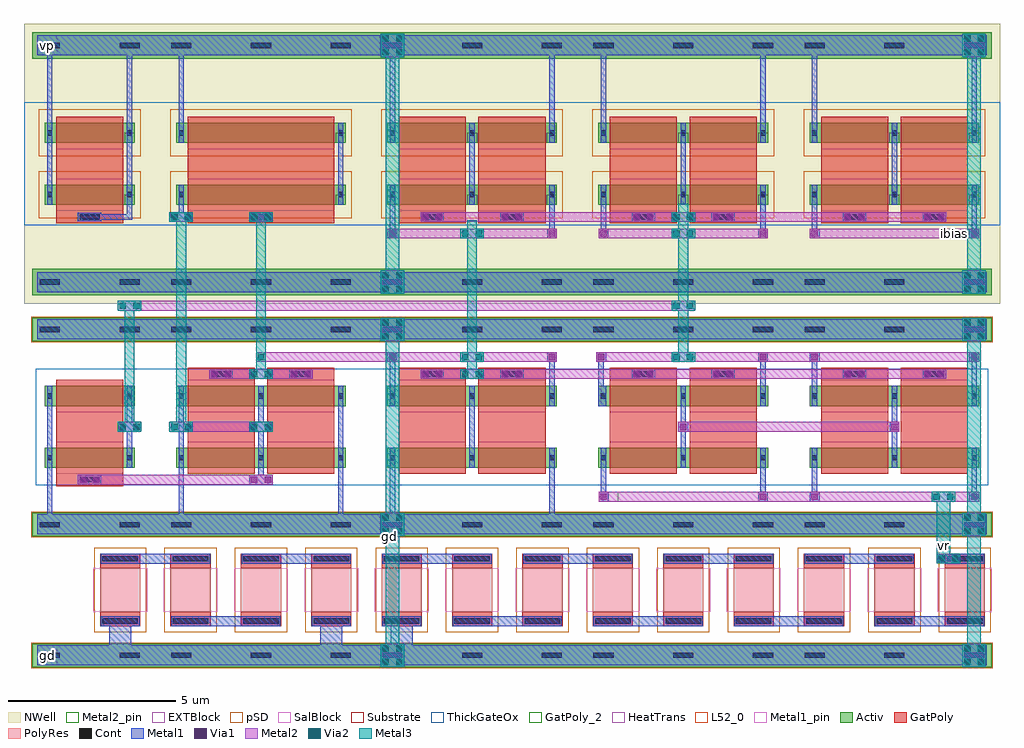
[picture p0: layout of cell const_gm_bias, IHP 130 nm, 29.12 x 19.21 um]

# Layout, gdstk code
import gdstk
lib = gdstk.Library(unit=1e-6, precision=1e-09)
def R(c, l, rs):  # rectangles x0, y0, x1, y1
    for r in rs: c.add(gdstk.rectangle(r[:2], r[2:], *l))
def A(c, l, x, y, w, h, nx, ny, dx, dy):  # array of equal rectangles
    R(c, l, [(x+i*dx, y+j*dy, x+i*dx+w, y+j*dy+h) for i in range(nx) for j in range(ny)])
Activ = (1, 0)
GatPoly = (5, 0)
GatPoly_2 = (5, 2)
Cont = (6, 0)
Metal1 = (8, 0)
Metal1_pin = (8, 2)
Metal2 = (10, 0)
Metal2_pin = (10, 2)
pSD = (14, 0)
Via1 = (19, 0)
SalBlock = (28, 0)
Via2 = (29, 0)
Metal3 = (30, 0)
NWell = (31, 0)
Substrate = (40, 0)
ThickGateOx = (44, 0)
HeatTrans = (51, 0)
L52_0 = (52, 0)
EXTBlock = (111, 0)
PolyRes = (128, 0)

nmoshv_6 = lib.new_cell('nmosHV$6')
R(nmoshv_6, Activ, [(0,0,0.3,0.3), (0,0,2.68,0.6), (2.38,0,2.68,0.3)])
R(nmoshv_6, GatPoly, [(0.34,-0.18,2.34,0.78)])
R(nmoshv_6, GatPoly_2, [(0.34,-0.18,2.34,0.78)])
R(nmoshv_6, Cont, [(0.07,0.22,0.23,0.38), (2.45,0.22,2.61,0.38)])
R(nmoshv_6, Metal1, [(0.07,0,0.23,0.6), (2.45,0,2.61,0.6)])
R(nmoshv_6, Metal1_pin, [(0.07,0,0.23,0.6), (2.45,0,2.61,0.6)])
R(nmoshv_6, ThickGateOx, [(-0.27,-0.52,2.95,1.12)])
R(nmoshv_6, HeatTrans, [(0.34,-0.18,2.34,0.78)])
nmoshv_6.add(gdstk.Label('nmosHV', (1.34,0.3), layer=63, texttype=0))
nmoshv_6.add(gdstk.Label('nmosHV', (1.34,0.3), layer=51, texttype=0))

via_stack = lib.new_cell('via_stack')
R(via_stack, Metal1, [(-0.35,-0.145,0.35,0.145)])
R(via_stack, Metal2, [(-0.35,-0.145,0.35,0.145)])
R(via_stack, Via1, [(-0.3,-0.095,-0.11,0.095), (0.11,-0.095,0.3,0.095)])

via_stack_1 = lib.new_cell('via_stack$1')
R(via_stack_1, Metal1, [(-0.145,-0.145,0.145,0.145)])
R(via_stack_1, Metal2, [(-0.145,-0.145,0.145,0.145)])
R(via_stack_1, Via1, [(-0.095,-0.095,0.095,0.095)])

via_stack_2 = lib.new_cell('via_stack$2')
R(via_stack_2, Metal2, [(-0.35,-0.145,0.35,0.145)])
R(via_stack_2, Via2, [(-0.3,-0.095,-0.11,0.095), (0.11,-0.095,0.3,0.095)])
R(via_stack_2, Metal3, [(-0.35,-0.145,0.35,0.145)])

via_stack_4 = lib.new_cell('via_stack$4')
R(via_stack_4, Metal1, [(-0.35,-0.35,0.35,0.35)])
R(via_stack_4, Metal2, [(-0.35,-0.35,0.35,0.35)])
R(via_stack_4, Via1, [(-0.3,-0.3,-0.11,-0.11), (0.11,-0.3,0.3,-0.11), (-0.3,0.11,-0.11,0.3), (0.11,0.11,0.3,0.3)])
R(via_stack_4, Via2, [(-0.3,-0.3,-0.11,-0.11), (0.11,-0.3,0.3,-0.11), (-0.3,0.11,-0.11,0.3), (0.11,0.11,0.3,0.3)])
R(via_stack_4, Metal3, [(-0.35,-0.35,0.35,0.35)])

pmoshv_6 = lib.new_cell('pmosHV$6')
R(pmoshv_6, Activ, [(0,0,0.3,0.3), (0,0,2.68,0.6), (2.38,0,2.68,0.3)])
R(pmoshv_6, GatPoly, [(0.34,-0.18,2.34,0.78)])
R(pmoshv_6, GatPoly_2, [(0.34,-0.18,2.34,0.78)])
R(pmoshv_6, Cont, [(0.07,0.22,0.23,0.38), (2.45,0.22,2.61,0.38)])
R(pmoshv_6, Metal1, [(0.07,0,0.23,0.6), (2.45,0,2.61,0.6)])
R(pmoshv_6, Metal1_pin, [(0.07,0,0.23,0.6), (2.45,0,2.61,0.6)])
R(pmoshv_6, pSD, [(-0.18,-0.4,2.86,1)])
R(pmoshv_6, NWell, [(-0.62,-0.62,3.3,1.22)])
R(pmoshv_6, Substrate, [(2.38,0,2.68,0.3)])
R(pmoshv_6, ThickGateOx, [(-0.62,-0.62,3.3,1.22)])
R(pmoshv_6, HeatTrans, [(0.34,-0.18,2.34,0.78)])
pmoshv_6.add(gdstk.Label('pmosHV', (1.34,0.3), layer=63, texttype=0))
pmoshv_6.add(gdstk.Label('pmos', (1.34,0.3), layer=51, texttype=0))

pmoshv_8 = lib.new_cell('pmosHV$8')
R(pmoshv_8, Activ, [(0,0,0.3,0.3), (0,0,5.06,0.6), (4.76,0,5.06,0.3)])
R(pmoshv_8, GatPoly, [(0.34,-0.18,4.72,0.78)])
R(pmoshv_8, GatPoly_2, [(0.34,-0.18,4.72,0.78)])
R(pmoshv_8, Cont, [(0.07,0.22,0.23,0.38), (4.83,0.22,4.99,0.38)])
R(pmoshv_8, Metal1, [(0.07,0,0.23,0.6), (4.83,0,4.99,0.6)])
R(pmoshv_8, Metal1_pin, [(0.07,0,0.23,0.6), (4.83,0,4.99,0.6)])
R(pmoshv_8, pSD, [(-0.18,-0.4,5.24,1)])
R(pmoshv_8, NWell, [(-0.62,-0.62,5.68,1.22)])
R(pmoshv_8, Substrate, [(4.76,0,5.06,0.3)])
R(pmoshv_8, ThickGateOx, [(-0.62,-0.62,5.68,1.22)])
R(pmoshv_8, HeatTrans, [(0.34,-0.18,4.72,0.78)])
pmoshv_8.add(gdstk.Label('pmosHV', (2.53,0.3), layer=63, texttype=0))
pmoshv_8.add(gdstk.Label('pmos', (2.53,0.3), layer=51, texttype=0))

via_stack_3 = lib.new_cell('via_stack$3')
R(via_stack_3, Metal1, [(-0.35,-0.145,0.35,0.145)])
R(via_stack_3, Metal2, [(-0.35,-0.145,0.35,0.145)])
R(via_stack_3, Via1, [(-0.3,-0.095,-0.11,0.095), (0.11,-0.095,0.3,0.095)])
R(via_stack_3, Via2, [(-0.3,-0.095,-0.11,0.095), (0.11,-0.095,0.3,0.095)])
R(via_stack_3, Metal3, [(-0.35,-0.145,0.35,0.145)])

via_stack_6 = lib.new_cell('via_stack$6')
R(via_stack_6, Metal2, [(-0.145,-0.145,0.145,0.145)])
R(via_stack_6, Via2, [(-0.095,-0.095,0.095,0.095)])
R(via_stack_6, Metal3, [(-0.145,-0.145,0.145,0.145)])

const_gm_bias_core = lib.new_cell('const_gm_bias_core')
A(const_gm_bias_core, Cont, 4.39, 0.29, 0.6, 0.16, 3, 2, 2.38, 5.82)
A(const_gm_bias_core, Cont, 10.69, 0.29, 0.6, 0.16, 3, 2, 2.38, 5.82)
A(const_gm_bias_core, Cont, 16.99, 0.29, 0.6, 0.16, 3, 2, 2.38, 5.82)
A(const_gm_bias_core, Cont, 23.29, 0.29, 0.6, 0.16, 3, 2, 2.38, 5.82)
A(const_gm_bias_core, Cont, 4.39, 7.53, 0.6, 0.16, 3, 2, 2.38, 7.06)
A(const_gm_bias_core, Cont, 10.69, 7.53, 0.6, 0.16, 3, 2, 2.38, 7.06)
A(const_gm_bias_core, Cont, 16.99, 7.53, 0.6, 0.16, 3, 2, 2.38, 7.06)
A(const_gm_bias_core, Cont, 23.29, 7.53, 0.6, 0.16, 3, 2, 2.38, 7.06)
A(const_gm_bias_core, Cont, 1.66, 9.475, 0.6, 0.16, 3, 1, 5.11, 0)
R(const_gm_bias_core, Cont, [(0.47,0.29,1.07,0.45), (2.85,0.29,3.45,0.45), (1.66,1.63,2.26,1.79), (5.58,4.79,6.18,4.95), (7.96,4.79,8.56,4.95), (11.88,4.79,12.48,4.95), (14.26,4.79,14.86,4.95), (18.18,4.79,18.78,4.95), (20.56,4.79,21.16,4.95), (24.48,4.79,25.08,4.95), (26.86,4.79,27.46,4.95), (0.47,6.11,1.07,6.27), (2.85,6.11,3.45,6.27), (0.47,7.53,1.07,7.69), (2.85,7.53,3.45,7.69), (14.26,9.475,14.86,9.635), (18.18,9.475,18.78,9.635), (20.56,9.475,21.16,9.635), (24.48,9.475,25.08,9.635), (26.86,9.475,27.46,9.635), (0.47,14.59,1.07,14.75), (2.85,14.59,3.45,14.75)])
R(const_gm_bias_core, Metal1, [(1.61,9.425,2.31,9.685)])
R(const_gm_bias_core, Metal1_pin, [(10.61,0.08,11.21,0.68), (10.61,14.37,11.21,14.97)])
R(const_gm_bias_core, Metal2_pin, [(17.435,1.06,17.725,1.35), (27.915,8.91,28.205,9.2)])
R(const_gm_bias_core, NWell, [(0,6.97,29.12,9.55), (0,12.98,29.12,15.31)])
R(const_gm_bias_core, ThickGateOx, [(0.35,1.55,28.77,5.03)])
const_gm_bias_core.add(gdstk.FlexPath([(0.39,14.67),(28.73,14.67)], 0.6, ends="flush", simple_path=True, layer=8, datatype=0))  # Metal1
const_gm_bias_core.add(gdstk.FlexPath([(0.39,7.61),(28.73,7.61)], 0.6, ends="flush", simple_path=True, layer=8, datatype=0))  # Metal1
const_gm_bias_core.add(gdstk.FlexPath([(0.39,6.2),(28.73,6.2)], 0.6, ends="flush", simple_path=True, layer=8, datatype=0))  # Metal1
const_gm_bias_core.add(gdstk.FlexPath([(9.45,9.92),(9.45,12.36)], 0.16, ends="flush", simple_path=True, layer=8, datatype=0))  # Metal1
const_gm_bias_core.add(gdstk.FlexPath([(4.69,10.52),(4.69,9.41)], 0.16, ends="flush", simple_path=True, layer=8, datatype=0))  # Metal1
const_gm_bias_core.add(gdstk.FlexPath([(4.69,11.76),(4.69,14.97)], 0.16, ends="flush", simple_path=True, layer=8, datatype=0))  # Metal1
const_gm_bias_core.add(gdstk.FlexPath([(3.15,9.92),(3.15,14.97)], 0.16, ends="flush", simple_path=True, layer=8, datatype=0))  # Metal1
const_gm_bias_core.add(gdstk.FlexPath([(0.77,9.92),(0.77,14.97)], 0.16, ends="flush", simple_path=True, layer=8, datatype=0))  # Metal1
const_gm_bias_core.add(gdstk.FlexPath([(1.66,9.555),(3.15,9.555),(3.15,9.92)], 0.16, ends="flush", simple_path=True, layer=8, datatype=0))  # Metal1
const_gm_bias_core.add(gdstk.FlexPath([(7.07,1.565),(7.07,4.51)], 0.16, ends="flush", simple_path=True, layer=8, datatype=0))  # Metal1
const_gm_bias_core.add(gdstk.FlexPath([(4.69,4.51),(4.69,0.08)], 0.16, ends="flush", simple_path=True, layer=8, datatype=0))  # Metal1
const_gm_bias_core.add(gdstk.FlexPath([(9.45,4.51),(9.45,0.08)], 0.16, ends="flush", simple_path=True, layer=8, datatype=0))  # Metal1
const_gm_bias_core.add(gdstk.FlexPath([(0.77,4.51),(0.77,0.08)], 0.16, ends="flush", simple_path=True, layer=8, datatype=0))  # Metal1
const_gm_bias_core.add(gdstk.FlexPath([(0.39,0.38),(28.73,0.38)], 0.6, ends="flush", simple_path=True, layer=8, datatype=0))  # Metal1
const_gm_bias_core.add(gdstk.FlexPath([(13.37,4.51),(13.37,2.07)], 0.16, ends="flush", simple_path=True, layer=8, datatype=0))  # Metal1
const_gm_bias_core.add(gdstk.FlexPath([(19.67,4.51),(19.67,2.07)], 0.16, ends="flush", simple_path=True, layer=8, datatype=0))  # Metal1
const_gm_bias_core.add(gdstk.FlexPath([(25.97,4.51),(25.97,2.07)], 0.16, ends="flush", simple_path=True, layer=8, datatype=0))  # Metal1
const_gm_bias_core.add(gdstk.FlexPath([(10.99,3.91),(10.99,5.52)], 0.16, ends="flush", simple_path=True, layer=8, datatype=0))  # Metal1
const_gm_bias_core.add(gdstk.FlexPath([(15.75,3.91),(15.75,5.52)], 0.16, ends="flush", simple_path=True, layer=8, datatype=0))  # Metal1
const_gm_bias_core.add(gdstk.FlexPath([(17.22,3.91),(17.22,5.52)], 0.16, ends="flush", simple_path=True, layer=8, datatype=0))  # Metal1
const_gm_bias_core.add(gdstk.FlexPath([(22.05,3.91),(22.05,5.52)], 0.16, ends="flush", simple_path=True, layer=8, datatype=0))  # Metal1
const_gm_bias_core.add(gdstk.FlexPath([(23.59,3.91),(23.59,5.52)], 0.16, ends="flush", simple_path=True, layer=8, datatype=0))  # Metal1
const_gm_bias_core.add(gdstk.FlexPath([(28.35,3.91),(28.35,5.52)], 0.16, ends="flush", simple_path=True, layer=8, datatype=0))  # Metal1
const_gm_bias_core.add(gdstk.FlexPath([(10.99,2.67),(10.99,0.08)], 0.16, ends="flush", simple_path=True, layer=8, datatype=0))  # Metal1
const_gm_bias_core.add(gdstk.FlexPath([(15.75,2.67),(15.75,0.08)], 0.16, ends="flush", simple_path=True, layer=8, datatype=0))  # Metal1
const_gm_bias_core.add(gdstk.FlexPath([(17.29,2.67),(17.29,1.06)], 0.16, ends="flush", simple_path=True, layer=8, datatype=0))  # Metal1
const_gm_bias_core.add(gdstk.FlexPath([(22.05,2.67),(22.05,1.06)], 0.16, ends="flush", simple_path=True, layer=8, datatype=0))  # Metal1
const_gm_bias_core.add(gdstk.FlexPath([(23.59,2.67),(23.59,1.06)], 0.16, ends="flush", simple_path=True, layer=8, datatype=0))  # Metal1
const_gm_bias_core.add(gdstk.FlexPath([(28.35,2.67),(28.35,1.06)], 0.16, ends="flush", simple_path=True, layer=8, datatype=0))  # Metal1
const_gm_bias_core.add(gdstk.FlexPath([(28.35,11.76),(28.35,15.02)], 0.16, ends="flush", simple_path=True, layer=8, datatype=0))  # Metal1
const_gm_bias_core.add(gdstk.FlexPath([(23.59,11.76),(23.59,14.97)], 0.16, ends="flush", simple_path=True, layer=8, datatype=0))  # Metal1
const_gm_bias_core.add(gdstk.FlexPath([(22.05,11.76),(22.05,14.97)], 0.16, ends="flush", simple_path=True, layer=8, datatype=0))  # Metal1
const_gm_bias_core.add(gdstk.FlexPath([(17.29,11.76),(17.29,14.97)], 0.16, ends="flush", simple_path=True, layer=8, datatype=0))  # Metal1
const_gm_bias_core.add(gdstk.FlexPath([(15.75,11.76),(15.75,14.97)], 0.16, ends="flush", simple_path=True, layer=8, datatype=0))  # Metal1
const_gm_bias_core.add(gdstk.FlexPath([(10.99,11.76),(10.99,15.02)], 0.16, ends="flush", simple_path=True, layer=8, datatype=0))  # Metal1
const_gm_bias_core.add(gdstk.FlexPath([(28.35,10.52),(28.35,8.91)], 0.16, ends="flush", simple_path=True, layer=8, datatype=0))  # Metal1
const_gm_bias_core.add(gdstk.FlexPath([(23.59,10.52),(23.59,8.91)], 0.16, ends="flush", simple_path=True, layer=8, datatype=0))  # Metal1
const_gm_bias_core.add(gdstk.FlexPath([(25.97,12.36),(25.97,9.92)], 0.16, ends="flush", simple_path=True, layer=8, datatype=0))  # Metal1
const_gm_bias_core.add(gdstk.FlexPath([(22.05,10.52),(22.05,8.91)], 0.16, ends="flush", simple_path=True, layer=8, datatype=0))  # Metal1
const_gm_bias_core.add(gdstk.FlexPath([(17.29,10.52),(17.29,8.91)], 0.16, ends="flush", simple_path=True, layer=8, datatype=0))  # Metal1
const_gm_bias_core.add(gdstk.FlexPath([(15.75,10.52),(15.75,8.91)], 0.16, ends="flush", simple_path=True, layer=8, datatype=0))  # Metal1
const_gm_bias_core.add(gdstk.FlexPath([(10.99,10.52),(10.99,8.91)], 0.16, ends="flush", simple_path=True, layer=8, datatype=0))  # Metal1
const_gm_bias_core.add(gdstk.FlexPath([(19.67,12.36),(19.67,9.92)], 0.16, ends="flush", simple_path=True, layer=8, datatype=0))  # Metal1
const_gm_bias_core.add(gdstk.FlexPath([(13.37,12.36),(13.37,9.92)], 0.16, ends="flush", simple_path=True, layer=8, datatype=0))  # Metal1
const_gm_bias_core.add(gdstk.FlexPath([(3.15,2.07),(3.15,4.51)], 0.16, ends="flush", simple_path=True, layer=8, datatype=0))  # Metal1
const_gm_bias_core.add(gdstk.FlexPath([(0.24,14.67),(28.88,14.67)], 0.8, ends="flush", simple_path=True, layer=1, datatype=0))  # Activ
const_gm_bias_core.add(gdstk.FlexPath([(0.24,7.61),(28.88,7.61)], 0.8, ends="flush", simple_path=True, layer=1, datatype=0))  # Activ
const_gm_bias_core.add(gdstk.FlexPath([(0.24,6.2),(28.88,6.2)], 0.7, ends="flush", simple_path=True, layer=1, datatype=0))  # Activ
const_gm_bias_core.add(gdstk.FlexPath([(0.24,0.38),(28.88,0.38)], 0.7, ends="flush", simple_path=True, layer=1, datatype=0))  # Activ
const_gm_bias_core.add(gdstk.FlexPath([(1.96,12.54),(1.96,9.37)], 2, ends="flush", simple_path=True, layer=5, datatype=0))  # GatPoly
const_gm_bias_core.add(gdstk.FlexPath([(8.26,1.89),(8.26,5.06)], 2, ends="flush", simple_path=True, layer=5, datatype=0))  # GatPoly
const_gm_bias_core.add(gdstk.FlexPath([(5.88,1.89),(5.88,5.06)], 2, ends="flush", simple_path=True, layer=5, datatype=0))  # GatPoly
const_gm_bias_core.add(gdstk.FlexPath([(1.96,4.69),(1.96,1.52)], 2, ends="flush", simple_path=True, layer=5, datatype=0))  # GatPoly
const_gm_bias_core.add(gdstk.FlexPath([(7.07,12.54),(7.07,9.37)], 4.38, ends="flush", simple_path=True, layer=5, datatype=0))  # GatPoly
const_gm_bias_core.add(gdstk.FlexPath([(27.16,1.89),(27.16,5.06)], 2, ends="flush", simple_path=True, layer=5, datatype=0))  # GatPoly
const_gm_bias_core.add(gdstk.FlexPath([(24.78,1.89),(24.78,5.06)], 2, ends="flush", simple_path=True, layer=5, datatype=0))  # GatPoly
const_gm_bias_core.add(gdstk.FlexPath([(20.86,1.89),(20.86,5.06)], 2, ends="flush", simple_path=True, layer=5, datatype=0))  # GatPoly
const_gm_bias_core.add(gdstk.FlexPath([(18.48,1.89),(18.48,5.06)], 2, ends="flush", simple_path=True, layer=5, datatype=0))  # GatPoly
const_gm_bias_core.add(gdstk.FlexPath([(14.56,1.89),(14.56,5.06)], 2, ends="flush", simple_path=True, layer=5, datatype=0))  # GatPoly
const_gm_bias_core.add(gdstk.FlexPath([(12.18,1.89),(12.18,5.06)], 2, ends="flush", simple_path=True, layer=5, datatype=0))  # GatPoly
const_gm_bias_core.add(gdstk.FlexPath([(12.18,12.54),(12.18,9.37)], 2, ends="flush", simple_path=True, layer=5, datatype=0))  # GatPoly
const_gm_bias_core.add(gdstk.FlexPath([(14.56,12.54),(14.56,9.37)], 2, ends="flush", simple_path=True, layer=5, datatype=0))  # GatPoly
const_gm_bias_core.add(gdstk.FlexPath([(18.48,12.54),(18.48,9.37)], 2, ends="flush", simple_path=True, layer=5, datatype=0))  # GatPoly
const_gm_bias_core.add(gdstk.FlexPath([(20.86,12.54),(20.86,9.37)], 2, ends="flush", simple_path=True, layer=5, datatype=0))  # GatPoly
const_gm_bias_core.add(gdstk.FlexPath([(24.78,12.54),(24.78,9.37)], 2, ends="flush", simple_path=True, layer=5, datatype=0))  # GatPoly
const_gm_bias_core.add(gdstk.FlexPath([(27.16,12.54),(27.16,9.37)], 2, ends="flush", simple_path=True, layer=5, datatype=0))  # GatPoly
const_gm_bias_core.add(gdstk.FlexPath([(0.21,6.2),(28.91,6.2)], 0.76, ends="flush", simple_path=True, layer=14, datatype=0))  # pSD
const_gm_bias_core.add(gdstk.FlexPath([(0.21,0.38),(28.91,0.38)], 0.76, ends="flush", simple_path=True, layer=14, datatype=0))  # pSD
const_gm_bias_core.add(gdstk.FlexPath([(1.61,1.71),(7.42,1.71)], 0.29, ends="flush", simple_path=True, layer=10, datatype=0))  # Metal2
const_gm_bias_core.add(gdstk.FlexPath([(5.53,4.87),(8.61,4.87)], 0.29, ends="flush", simple_path=True, layer=10, datatype=0))  # Metal2
const_gm_bias_core.add(gdstk.FlexPath([(6.925,5.375),(15.895,5.375)], 0.29, ends="flush", simple_path=True, layer=10, datatype=0))  # Metal2
const_gm_bias_core.add(gdstk.FlexPath([(7.42,3.29),(4.34,3.29)], 0.29, ends="flush", simple_path=True, layer=10, datatype=0))  # Metal2
const_gm_bias_core.add(gdstk.FlexPath([(11.83,4.87),(27.51,4.87)], 0.29, ends="flush", simple_path=True, layer=10, datatype=0))  # Metal2
const_gm_bias_core.add(gdstk.FlexPath([(17.075,5.375),(28.495,5.375)], 0.29, ends="flush", simple_path=True, layer=10, datatype=0))  # Metal2
const_gm_bias_core.add(gdstk.FlexPath([(17.145,1.205),(28.495,1.205)], 0.29, ends="flush", simple_path=True, layer=10, datatype=0))  # Metal2
const_gm_bias_core.add(gdstk.FlexPath([(26.115,3.29),(19.525,3.29)], 0.29, ends="flush", simple_path=True, layer=10, datatype=0))  # Metal2
const_gm_bias_core.add(gdstk.FlexPath([(23.445,9.055),(28.495,9.055)], 0.29, ends="flush", simple_path=True, layer=10, datatype=0))  # Metal2
const_gm_bias_core.add(gdstk.FlexPath([(17.145,9.055),(22.195,9.055)], 0.29, ends="flush", simple_path=True, layer=10, datatype=0))  # Metal2
const_gm_bias_core.add(gdstk.FlexPath([(10.845,9.055),(15.895,9.055)], 0.29, ends="flush", simple_path=True, layer=10, datatype=0))  # Metal2
const_gm_bias_core.add(gdstk.FlexPath([(11.83,9.555),(27.51,9.555)], 0.29, ends="flush", simple_path=True, layer=10, datatype=0))  # Metal2
const_gm_bias_core.add(gdstk.FlexPath([(20.02,6.905),(2.8,6.905)], 0.29, ends="flush", simple_path=True, layer=10, datatype=0))  # Metal2
const_gm_bias_core.add(gdstk.FlexPath([(7.07,4.725),(7.07,9.7)], 0.29, ends="flush", simple_path=True, layer=30, datatype=0))  # Metal3
const_gm_bias_core.add(gdstk.FlexPath([(4.69,3.145),(4.69,9.7)], 0.29, ends="flush", simple_path=True, layer=30, datatype=0))  # Metal3
const_gm_bias_core.add(gdstk.FlexPath([(13.37,4.725),(13.37,9.45)], 0.29, ends="flush", simple_path=True, layer=30, datatype=0))  # Metal3
const_gm_bias_core.add(gdstk.FlexPath([(19.67,5.23),(19.67,9.95)], 0.29, ends="flush", simple_path=True, layer=30, datatype=0))  # Metal3
const_gm_bias_core.add(gdstk.FlexPath([(10.99,0.03),(10.99,6.55)], 0.4, ends="flush", simple_path=True, layer=30, datatype=0))  # Metal3
const_gm_bias_core.add(gdstk.FlexPath([(28.35,0.03),(28.35,6.55)], 0.4, ends="flush", simple_path=True, layer=30, datatype=0))  # Metal3
const_gm_bias_core.add(gdstk.FlexPath([(10.99,7.26),(10.99,15.02)], 0.4, ends="flush", simple_path=True, layer=30, datatype=0))  # Metal3
const_gm_bias_core.add(gdstk.FlexPath([(28.35,7.26),(28.35,15.02)], 0.4, ends="flush", simple_path=True, layer=30, datatype=0))  # Metal3
const_gm_bias_core.add(gdstk.FlexPath([(3.15,3.145),(3.15,7.05)], 0.29, ends="flush", simple_path=True, layer=30, datatype=0))  # Metal3
const_gm_bias_core.add(gdstk.Reference(nmoshv_6, (10.84,3.91)))
const_gm_bias_core.add(gdstk.Reference(nmoshv_6, (17.14,3.91)))
const_gm_bias_core.add(gdstk.Reference(nmoshv_6, (17.14,2.07)))
const_gm_bias_core.add(gdstk.Reference(nmoshv_6, (19.52,3.91)))
const_gm_bias_core.add(gdstk.Reference(nmoshv_6, (19.52,2.07)))
const_gm_bias_core.add(gdstk.Reference(nmoshv_6, (23.44,3.91)))
const_gm_bias_core.add(gdstk.Reference(nmoshv_6, (23.44,2.07)))
const_gm_bias_core.add(gdstk.Reference(nmoshv_6, (25.82,3.91)))
const_gm_bias_core.add(gdstk.Reference(nmoshv_6, (25.82,2.07)))
const_gm_bias_core.add(gdstk.Reference(via_stack, (27.16,4.87)))
const_gm_bias_core.add(gdstk.Reference(via_stack, (24.78,4.87)))
const_gm_bias_core.add(gdstk.Reference(via_stack, (20.86,4.87)))
const_gm_bias_core.add(gdstk.Reference(via_stack, (18.48,4.87)))
const_gm_bias_core.add(gdstk.Reference(via_stack, (14.56,4.87)))
const_gm_bias_core.add(gdstk.Reference(via_stack, (12.18,4.87)))
const_gm_bias_core.add(gdstk.Reference(via_stack_1, (15.75,5.375)))
const_gm_bias_core.add(gdstk.Reference(via_stack_1, (17.22,5.375)))
const_gm_bias_core.add(gdstk.Reference(via_stack_1, (22.05,5.375)))
const_gm_bias_core.add(gdstk.Reference(via_stack_1, (23.59,5.375)))
const_gm_bias_core.add(gdstk.Reference(via_stack_1, (28.35,5.375)))
const_gm_bias_core.add(gdstk.Reference(via_stack_2, (13.37,5.375)))
const_gm_bias_core.add(gdstk.Reference(via_stack_2, (19.67,5.375)))
const_gm_bias_core.add(gdstk.Reference(via_stack_2, (13.37,4.87)))
const_gm_bias_core.add(gdstk.Reference(via_stack_4, (10.99,6.2)))
const_gm_bias_core.add(gdstk.Reference(via_stack_4, (10.99,0.38)))
const_gm_bias_core.add(gdstk.Reference(via_stack_4, (28.35,6.2)))
const_gm_bias_core.add(gdstk.Reference(via_stack_4, (28.35,0.38)))
const_gm_bias_core.add(gdstk.Reference(via_stack_4, (10.99,7.61)))
const_gm_bias_core.add(gdstk.Reference(via_stack_4, (28.35,7.61)))
const_gm_bias_core.add(gdstk.Reference(via_stack_1, (19.67,3.29)))
const_gm_bias_core.add(gdstk.Reference(via_stack_1, (25.97,3.29)))
const_gm_bias_core.add(gdstk.Reference(via_stack_1, (17.29,1.205)))
const_gm_bias_core.add(gdstk.Reference(via_stack_1, (22.05,1.205)))
const_gm_bias_core.add(gdstk.Reference(via_stack_1, (23.59,1.205)))
const_gm_bias_core.add(gdstk.Reference(via_stack_1, (28.35,1.205)))
const_gm_bias_core.add(gdstk.Reference(via_stack_4, (10.99,14.67)))
const_gm_bias_core.add(gdstk.Reference(via_stack_4, (28.35,14.67)))
const_gm_bias_core.add(gdstk.Reference(via_stack_2, (19.67,9.555)))
const_gm_bias_core.add(gdstk.Reference(via_stack_2, (19.67,9.055)))
const_gm_bias_core.add(gdstk.Reference(via_stack_2, (13.37,9.055)))
const_gm_bias_core.add(gdstk.Reference(via_stack_1, (28.35,9.055)))
const_gm_bias_core.add(gdstk.Reference(via_stack_1, (23.59,9.055)))
const_gm_bias_core.add(gdstk.Reference(via_stack_1, (22.05,9.055)))
const_gm_bias_core.add(gdstk.Reference(via_stack_1, (17.29,9.055)))
const_gm_bias_core.add(gdstk.Reference(via_stack_1, (15.75,9.055)))
const_gm_bias_core.add(gdstk.Reference(via_stack_1, (10.99,9.055)))
const_gm_bias_core.add(gdstk.Reference(via_stack, (12.18,9.555), x_reflection=True))
const_gm_bias_core.add(gdstk.Reference(via_stack, (14.56,9.555), x_reflection=True))
const_gm_bias_core.add(gdstk.Reference(via_stack, (18.48,9.555), x_reflection=True))
const_gm_bias_core.add(gdstk.Reference(via_stack, (20.86,9.555), x_reflection=True))
const_gm_bias_core.add(gdstk.Reference(via_stack, (24.78,9.555), x_reflection=True))
const_gm_bias_core.add(gdstk.Reference(via_stack, (27.16,9.555), x_reflection=True))
const_gm_bias_core.add(gdstk.Reference(pmoshv_6, (25.82,9.92)))
const_gm_bias_core.add(gdstk.Reference(pmoshv_6, (25.82,11.76)))
const_gm_bias_core.add(gdstk.Reference(pmoshv_6, (23.44,9.92)))
const_gm_bias_core.add(gdstk.Reference(pmoshv_6, (23.44,11.76)))
const_gm_bias_core.add(gdstk.Reference(pmoshv_6, (19.52,9.92)))
const_gm_bias_core.add(gdstk.Reference(pmoshv_6, (19.52,11.76)))
const_gm_bias_core.add(gdstk.Reference(pmoshv_6, (17.14,9.92)))
const_gm_bias_core.add(gdstk.Reference(pmoshv_6, (17.14,11.76)))
const_gm_bias_core.add(gdstk.Reference(pmoshv_6, (13.22,9.92)))
const_gm_bias_core.add(gdstk.Reference(pmoshv_6, (13.22,11.76)))
const_gm_bias_core.add(gdstk.Reference(pmoshv_6, (10.84,9.92)))
const_gm_bias_core.add(gdstk.Reference(pmoshv_6, (10.84,11.76)))
const_gm_bias_core.add(gdstk.Reference(via_stack_1, (10.99,5.375)))
const_gm_bias_core.add(gdstk.Reference(pmoshv_8, (4.54,9.92)))
const_gm_bias_core.add(gdstk.Reference(nmoshv_6, (10.84,2.07)))
const_gm_bias_core.add(gdstk.Reference(nmoshv_6, (13.22,2.07)))
const_gm_bias_core.add(gdstk.Reference(nmoshv_6, (13.22,3.91)))
const_gm_bias_core.add(gdstk.Reference(nmoshv_6, (4.54,3.91)))
const_gm_bias_core.add(gdstk.Reference(nmoshv_6, (4.54,2.07)))
const_gm_bias_core.add(gdstk.Reference(nmoshv_6, (6.92,2.07)))
const_gm_bias_core.add(gdstk.Reference(nmoshv_6, (6.92,3.91)))
const_gm_bias_core.add(gdstk.Reference(nmoshv_6, (0.62,3.91)))
const_gm_bias_core.add(gdstk.Reference(nmoshv_6, (0.62,2.07)))
const_gm_bias_core.add(gdstk.Reference(pmoshv_6, (0.62,9.92)))
const_gm_bias_core.add(gdstk.Reference(pmoshv_6, (0.62,11.76)))
const_gm_bias_core.add(gdstk.Reference(via_stack, (8.26,4.87)))
const_gm_bias_core.add(gdstk.Reference(via_stack, (5.88,4.87)))
const_gm_bias_core.add(gdstk.Reference(via_stack, (1.96,1.71), x_reflection=True))
const_gm_bias_core.add(gdstk.Reference(via_stack, (7.07,1.71), x_reflection=True))
const_gm_bias_core.add(gdstk.Reference(pmoshv_8, (4.54,11.76)))
const_gm_bias_core.add(gdstk.Reference(via_stack_3, (7.07,9.555)))
const_gm_bias_core.add(gdstk.Reference(via_stack_2, (7.07,4.87)))
const_gm_bias_core.add(gdstk.Reference(via_stack_6, (7.07,5.375)))
const_gm_bias_core.add(gdstk.Reference(via_stack_3, (4.69,9.555)))
const_gm_bias_core.add(gdstk.Reference(via_stack_2, (4.69,3.29)))
const_gm_bias_core.add(gdstk.Reference(via_stack_3, (7.07,3.29)))
const_gm_bias_core.add(gdstk.Reference(via_stack_3, (3.15,3.29)))
const_gm_bias_core.add(gdstk.Reference(via_stack_2, (3.15,6.905)))
const_gm_bias_core.add(gdstk.Reference(via_stack_2, (19.67,6.905)))
const_gm_bias_core.add(gdstk.Label('res', (17.58,1.205), layer=10, texttype=25))
const_gm_bias_core.add(gdstk.Label('ibias', (28.06,9.055), layer=10, texttype=25))
const_gm_bias_core.add(gdstk.Label('stup', (3.13,1.71), layer=10, texttype=25))
const_gm_bias_core.add(gdstk.Label('nbias', (12.18,5.375), layer=10, texttype=25))
const_gm_bias_core.add(gdstk.Label('ABC', (17.69,5.375), layer=10, texttype=25))
const_gm_bias_core.add(gdstk.Label('gd', (10.91,0.38), layer=8, texttype=25))
const_gm_bias_core.add(gdstk.Label('vp', (10.91,14.67), layer=8, texttype=25))

rppd_11 = lib.new_cell('rppd$11')
A(rppd_11, GatPoly, 0, -0.43, 1.2, 0.23, 9, 2, 2.1, 1.93)
A(rppd_11, GatPoly, 0, -0.2, 1.2, 0.2, 9, 2, 2.1, 1.5)
A(rppd_11, Cont, 0.07, -0.36, 1.06, 0.16, 9, 2, 2.1, 1.86)
A(rppd_11, Metal1, 0.02, -0.43, 1.16, 0.3, 9, 2, 2.1, 1.86)
A(rppd_11, Metal1, 2.12, -0.43, 3.26, 0.3, 4, 1, 4.2, 0)
A(rppd_11, Metal1, 0.02, 1.43, 3.26, 0.3, 4, 1, 4.2, 0)
A(rppd_11, Metal1_pin, 0.02, -0.43, 1.16, 0.3, 9, 2, 2.1, 1.86)
A(rppd_11, pSD, -0.18, -0.61, 1.56, 0.61, 9, 2, 2.1, 1.91)
A(rppd_11, pSD, -0.18, 0, 1.56, 1.3, 9, 1, 2.1, 0)
A(rppd_11, SalBlock, -0.2, 0, 1.6, 1.3, 9, 1, 2.1, 0)
A(rppd_11, L52_0, 0, 0, 1.2, 1.3, 9, 1, 2.1, 0)
A(rppd_11, EXTBlock, -0.18, -0.61, 1.56, 0.61, 9, 2, 2.1, 1.91)
A(rppd_11, EXTBlock, -0.2, 0, 1.6, 1.3, 9, 1, 2.1, 0)
A(rppd_11, PolyRes, 0, 0, 1.2, 1.3, 9, 1, 2.1, 0)
rppd_11.add(gdstk.Label('rppd r=338.599', (0.6,0.65), layer=63, texttype=0))
rppd_11.add(gdstk.Label('rppd r=338.599', (0.6,0.65), layer=63, texttype=0))
rppd_11.add(gdstk.Label('rppd r=338.599', (0.6,0.65), layer=63, texttype=0))
rppd_11.add(gdstk.Label('rppd r=338.599', (0.6,0.65), layer=63, texttype=0))
rppd_11.add(gdstk.Label('rppd r=338.599', (0.6,0.65), layer=63, texttype=0))
rppd_11.add(gdstk.Label('rppd r=338.599', (0.6,0.65), layer=63, texttype=0))
rppd_11.add(gdstk.Label('rppd r=338.599', (0.6,0.65), layer=63, texttype=0))
rppd_11.add(gdstk.Label('rppd r=338.599', (0.6,0.65), layer=63, texttype=0))
rppd_11.add(gdstk.Label('rppd r=338.599', (0.6,0.65), layer=63, texttype=0))
rppd_11.add(gdstk.Label('rppd', (0.6,0.65), layer=52, texttype=0))
rppd_11.add(gdstk.Label('rppd', (2.7,0.65), layer=52, texttype=0))
rppd_11.add(gdstk.Label('rppd', (4.8,0.65), layer=52, texttype=0))
rppd_11.add(gdstk.Label('rppd', (6.9,0.65), layer=52, texttype=0))
rppd_11.add(gdstk.Label('rppd', (9,0.65), layer=52, texttype=0))
rppd_11.add(gdstk.Label('rppd', (11.1,0.65), layer=52, texttype=0))
rppd_11.add(gdstk.Label('rppd', (13.2,0.65), layer=52, texttype=0))
rppd_11.add(gdstk.Label('rppd', (15.3,0.65), layer=52, texttype=0))
rppd_11.add(gdstk.Label('rppd', (17.4,0.65), layer=52, texttype=0))

rppd_9 = lib.new_cell('rppd$9')
A(rppd_9, GatPoly, 0, -0.43, 1.2, 0.23, 4, 2, 2.1, 1.93)
A(rppd_9, GatPoly, 0, -0.2, 1.2, 0.2, 4, 2, 2.1, 1.5)
A(rppd_9, Cont, 0.07, -0.36, 1.06, 0.16, 4, 2, 2.1, 1.86)
A(rppd_9, Metal1, 0.02, -0.43, 1.16, 0.3, 4, 2, 2.1, 1.86)
R(rppd_9, Metal1, [(2.12,-0.43,5.38,-0.13), (0.02,1.43,3.28,1.73), (4.22,1.43,7.48,1.73)])
A(rppd_9, Metal1_pin, 0.02, -0.43, 1.16, 0.3, 4, 2, 2.1, 1.86)
A(rppd_9, pSD, -0.18, -0.61, 1.56, 0.61, 4, 2, 2.1, 1.91)
A(rppd_9, pSD, -0.18, 0, 1.56, 1.3, 4, 1, 2.1, 0)
A(rppd_9, SalBlock, -0.2, 0, 1.6, 1.3, 4, 1, 2.1, 0)
A(rppd_9, L52_0, 0, 0, 1.2, 1.3, 4, 1, 2.1, 0)
A(rppd_9, EXTBlock, -0.18, -0.61, 1.56, 0.61, 4, 2, 2.1, 1.91)
A(rppd_9, EXTBlock, -0.2, 0, 1.6, 1.3, 4, 1, 2.1, 0)
A(rppd_9, PolyRes, 0, 0, 1.2, 1.3, 4, 1, 2.1, 0)
rppd_9.add(gdstk.Label('rppd r=338.599', (0.6,0.65), layer=63, texttype=0))
rppd_9.add(gdstk.Label('rppd r=338.599', (0.6,0.65), layer=63, texttype=0))
rppd_9.add(gdstk.Label('rppd r=338.599', (0.6,0.65), layer=63, texttype=0))
rppd_9.add(gdstk.Label('rppd r=338.599', (0.6,0.65), layer=63, texttype=0))
rppd_9.add(gdstk.Label('rppd', (0.6,0.65), layer=52, texttype=0))
rppd_9.add(gdstk.Label('rppd', (2.7,0.65), layer=52, texttype=0))
rppd_9.add(gdstk.Label('rppd', (4.8,0.65), layer=52, texttype=0))
rppd_9.add(gdstk.Label('rppd', (6.9,0.65), layer=52, texttype=0))

const_gm_bias = lib.new_cell('const_gm_bias')
R(const_gm_bias, Activ, [(0.24,0.03,28.88,0.73)])
A(const_gm_bias, Cont, 4.39, 0.3, 0.6, 0.16, 3, 1, 2.38, 0)
A(const_gm_bias, Cont, 10.69, 0.3, 0.6, 0.16, 3, 1, 2.38, 0)
A(const_gm_bias, Cont, 16.99, 0.3, 0.6, 0.16, 3, 1, 2.38, 0)
A(const_gm_bias, Cont, 23.29, 0.3, 0.6, 0.16, 3, 1, 2.38, 0)
R(const_gm_bias, Cont, [(0.47,0.3,1.07,0.46), (2.85,0.3,3.45,0.46)])
R(const_gm_bias, Metal1, [(0.39,0.08,28.73,0.68)])
R(const_gm_bias, Metal1_pin, [(0.39,0.08,0.99,0.68), (0.39,18.275,0.99,18.875)])
R(const_gm_bias, Metal2_pin, [(27.625,12.815,27.915,13.105)])
R(const_gm_bias, pSD, [(0.21,0,28.91,0.76)])
const_gm_bias.add(gdstk.FlexPath([(9.17,1.55),(9.17,0.08)], 0.66, ends="flush", simple_path=True, layer=8, datatype=0))  # Metal1
const_gm_bias.add(gdstk.FlexPath([(2.87,1.55),(2.87,0.08)], 0.66, ends="flush", simple_path=True, layer=8, datatype=0))  # Metal1
const_gm_bias.add(gdstk.FlexPath([(11.27,1.55),(11.27,0.08)], 0.66, ends="flush", simple_path=True, layer=8, datatype=0))  # Metal1
const_gm_bias.add(gdstk.FlexPath([(10.99,0.035),(10.99,4.635)], 0.4, ends="flush", simple_path=True, layer=30, datatype=0))  # Metal3
const_gm_bias.add(gdstk.FlexPath([(28.35,4.63),(28.35,0.03)], 0.4, ends="flush", simple_path=True, layer=30, datatype=0))  # Metal3
const_gm_bias.add(gdstk.FlexPath([(27.43,5.255),(27.43,3.12)], 0.4, ends="flush", simple_path=True, layer=30, datatype=0))  # Metal3
const_gm_bias.add(gdstk.Reference(const_gm_bias_core, (0,3.905)))
const_gm_bias.add(gdstk.Reference(via_stack_4, (10.99,0.38)))
const_gm_bias.add(gdstk.Reference(via_stack_4, (28.35,0.38)))
const_gm_bias.add(gdstk.Reference(via_stack_2, (27.43,5.11)))
const_gm_bias.add(gdstk.Reference(via_stack_3, (27.58,3.265)))
const_gm_bias.add(gdstk.Reference(rppd_11, (10.67,1.68)))
const_gm_bias.add(gdstk.Reference(rppd_9, (2.27,1.68)))
const_gm_bias.add(gdstk.Label('ibias', (27.77,12.96), layer=10, texttype=25))
const_gm_bias.add(gdstk.Label('vp', (0.69,18.575), layer=8, texttype=25))
const_gm_bias.add(gdstk.Label('gd', (10.91,3.925), layer=8, texttype=25))
const_gm_bias.add(gdstk.Label('gd', (0.69,0.38), layer=8, texttype=25))
const_gm_bias.add(gdstk.Label('vr', (27.43,3.67), layer=30, texttype=25))

lib.write_gds('const_gm_bias.gds')
